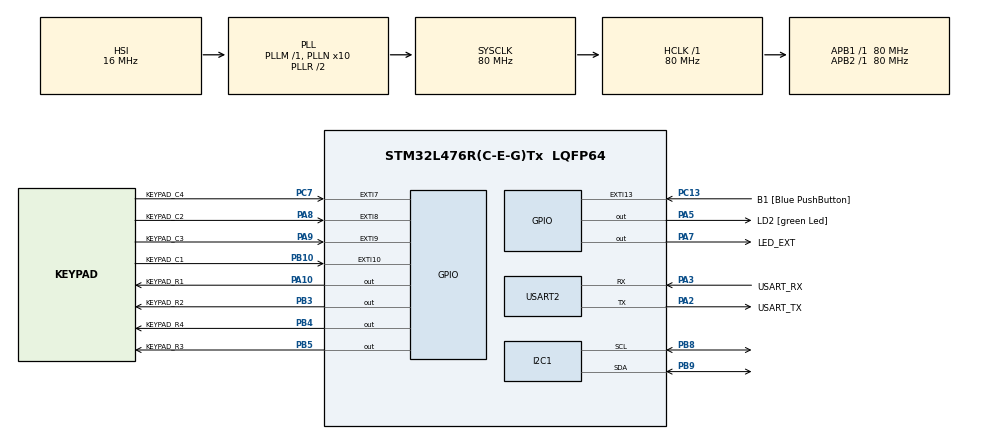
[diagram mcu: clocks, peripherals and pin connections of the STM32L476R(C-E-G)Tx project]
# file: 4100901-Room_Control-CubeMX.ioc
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I2C1.Timing=0x10D19CE4
Mcu.Family=STM32L4
Mcu.Name=STM32L476R(C-E-G)Tx
Mcu.Package=LQFP64
NVIC.EXTI15_10_IRQn=true\:4\:0\:true\:false\:true\:true\:true\:true
NVIC.EXTI9_5_IRQn=true\:4\:0\:true\:false\:true\:true\:true\:true
NVIC.PriorityGroup=NVIC_PRIORITYGROUP_4
NVIC.USART2_IRQn=true\:0\:0\:false\:false\:true\:true\:true\:true
PA10.GPIO_Label=KEYPAD_R1
PA10.Signal=GPIO_Output
PA13\ (JTMS-SWDIO).GPIO_Label=TMS
PA13\ (JTMS-SWDIO).Mode=Serial_Wire
PA13\ (JTMS-SWDIO).Signal=SYS_JTMS-SWDIO
PA14\ (JTCK-SWCLK).GPIO_Label=TCK
PA14\ (JTCK-SWCLK).Mode=Serial_Wire
PA14\ (JTCK-SWCLK).Signal=SYS_JTCK-SWCLK
PA2.GPIO_Label=USART_TX
PA2.GPIO_Mode=GPIO_MODE_AF_PP
PA2.GPIO_PuPd=GPIO_NOPULL
PA2.GPIO_Speed=GPIO_SPEED_FREQ_VERY_HIGH
PA2.Mode=Asynchronous
PA2.Signal=USART2_TX
PA3.GPIO_Label=USART_RX
PA3.GPIO_Mode=GPIO_MODE_AF_PP
PA3.GPIO_PuPd=GPIO_NOPULL
PA3.GPIO_Speed=GPIO_SPEED_FREQ_VERY_HIGH
PA3.Mode=Asynchronous
PA3.Signal=USART2_RX
PA5.GPIO_Label=LD2 [green Led]
PA5.GPIO_ModeDefaultOutputPP=GPIO_MODE_OUTPUT_PP
PA5.GPIO_PuPd=GPIO_NOPULL
PA5.GPIO_Speed=GPIO_SPEED_FREQ_LOW
PA5.Signal=GPIO_Output
PA7.GPIO_Label=LED_EXT
PA7.Signal=GPIO_Output
PA8.GPIO_Label=KEYPAD_C2
PA8.GPIO_ModeDefaultEXTI=GPIO_MODE_IT_FALLING
PA8.GPIO_PuPd=GPIO_PULLUP
PA8.Signal=GPXTI8
PA9.GPIO_Label=KEYPAD_C3
PA9.GPIO_ModeDefaultEXTI=GPIO_MODE_IT_FALLING
PA9.GPIO_PuPd=GPIO_PULLUP
PA9.Signal=GPXTI9
PB10.GPIO_Label=KEYPAD_C1
PB10.GPIO_ModeDefaultEXTI=GPIO_MODE_IT_FALLING
PB10.GPIO_PuPd=GPIO_PULLUP
PB10.Signal=GPXTI10
PB3\ (JTDO-TRACESWO).GPIO_Label=KEYPAD_R2
PB3\ (JTDO-TRACESWO).Signal=GPIO_Output
PB4\ (NJTRST).GPIO_Label=KEYPAD_R4
PB4\ (NJTRST).Signal=GPIO_Output
PB5.GPIO_Label=KEYPAD_R3
PB5.Signal=GPIO_Output
PB8.Mode=I2C
PB8.Signal=I2C1_SCL
PB9.Mode=I2C
PB9.Signal=I2C1_SDA
PC13.GPIO_Label=B1 [Blue PushButton]
PC13.GPIO_ModeDefaultEXTI=GPIO_MODE_IT_FALLING
PC13.GPIO_PuPd=GPIO_PULLUP
PC13.Signal=GPXTI13
PC14-OSC32_IN\ (PC14).Mode=LSE-External-Oscillator
PC14-OSC32_IN\ (PC14).Signal=RCC_OSC32_IN
PC15-OSC32_OUT\ (PC15).Mode=LSE-External-Oscillator
PC15-OSC32_OUT\ (PC15).Signal=RCC_OSC32_OUT
PC7.GPIO_Label=KEYPAD_C4
PC7.GPIO_ModeDefaultEXTI=GPIO_MODE_IT_FALLING
PC7.GPIO_PuPd=GPIO_PULLUP
PC7.Signal=GPXTI7
PH0-OSC_IN\ (PH0).Signal=RCC_OSC_IN
PH1-OSC_OUT\ (PH1).Signal=RCC_OSC_OUT
ProjectManager.HeapSize=0x200
ProjectManager.StackSize=0x400
ProjectManager.TargetToolchain=CMake
RCC.ADCFreq_Value=64000000
RCC.AHBFreq_Value=80000000
RCC.APB1Freq_Value=80000000
RCC.APB1TimFreq_Value=80000000
RCC.APB2Freq_Value=80000000
RCC.APB2TimFreq_Value=80000000
RCC.CortexFreq_Value=80000000
RCC.HCLKFreq_Value=80000000
RCC.HSE_VALUE=8000000
RCC.HSI_VALUE=16000000
RCC.MSI_VALUE=4000000
RCC.PLLN=10
RCC.PLLSourceVirtual=RCC_PLLSOURCE_HSI
RCC.PREFETCH_ENABLE=1
RCC.SYSCLKFreq_VALUE=80000000
RCC.SYSCLKSource=RCC_SYSCLKSOURCE_PLLCLK
RCC.USBFreq_Value=64000000
RCC.VCOOutputFreq_Value=160000000
USART2.VirtualMode-Asynchronous=VM_ASYNC
board=NUCLEO-L476RG

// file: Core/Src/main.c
/* USER CODE BEGIN Header */
/**
  ******************************************************************************
  * @file           : main.c
  * @brief          : Main program body
  ******************************************************************************
  * @attention
  *
  * Copyright (c) 2025 STMicroelectronics.
  * All rights reserved.
  *
  * This software is licensed under terms that can be found in the LICENSE file
  * in the root directory of this software component.
  * If no LICENSE file comes with this software, it is provided AS-IS.
  *
  ******************************************************************************
  */
/* USER CODE END Header */
#include "main.h"

/* USER CODE BEGIN Includes */
#include "led_driver.h"
#include "keypad_driver.h"
#include "ring_buffer.h"
#include <stdio.h>
#include <string.h>
#include "ssd1306.h"
#include "ssd1306_fonts.h"
/* USER CODE END Includes */

/* USER CODE BEGIN PD */
// --- CONFIGURACION DEL SISTEMA ---
/** @brief Configuración de la contraseña y tiempos
 * @note  Ajustar estos valores según las necesidades del sistema
 * @param PASSWORD: Contraseña correcta de 4 dígitos
 * @param DEBOUNCE_TIME_MS: Tiempo de anti-rebote para las teclas
 * @param FEEDBACK_LED_TIME_MS: Tiempo que el LED se enciende al oprimir cualquier tecla
 * @param SUCCESS_LED_TIME_MS: Tiempo que el LED se enciende cuando se ingresa la contraseña correcta
 */
#define PASSWORD "1102" // Contraseña de 4 dígitos
#define PASSWORD_LEN 4
#define DEBOUNCE_TIME_MS 200     // Tiempo de anti-rebote para las teclas
#define FEEDBACK_LED_TIME_MS 100  // Tiempo que el LED se enciende al oprimir cualquier tecla
#define SUCCESS_LED_TIME_MS 4000  // Tiempo que el LED se enciende cuando se ingresa la contraseña correcta

/* USER CODE END PD */

I2C_HandleTypeDef hi2c1;

UART_HandleTypeDef huart2;

/* USER CODE BEGIN PV */
/**
 * @brief Manejo del LED y del Keypad
 * @note  Contiene la lógica para el control del LED y la lectura del teclado matricial
 * @related led_handle_t, keypad_handle_t
 * @param led1: estructura que define el LED conectado al pin PA5
 * @param keypad: estructura que define el teclado matricial conectado a varios pines GPIO
 */
led_handle_t led1 = { .port = GPIOA, .pin = GPIO_PIN_5 }; // LED en PA5 (LD2)

keypad_handle_t keypad = {
    .row_ports = {KEYPAD_R1_GPIO_Port, KEYPAD_R2_GPIO_Port, KEYPAD_R3_GPIO_Port, KEYPAD_R4_GPIO_Port}, // Puertos de las filas
    .row_pins  = {KEYPAD_R1_Pin, KEYPAD_R2_Pin, KEYPAD_R3_Pin, KEYPAD_R4_Pin},                         // Pines de las filas
    .col_ports = {KEYPAD_C1_GPIO_Port, KEYPAD_C2_GPIO_Port, KEYPAD_C3_GPIO_Port, KEYPAD_C4_GPIO_Port}, // puertos de las columnas
    .col_pins  = {KEYPAD_C1_Pin, KEYPAD_C2_Pin, KEYPAD_C3_Pin, KEYPAD_C4_Pin}                          // Pines de las columnas
};

// --- Buffer circular para teclas ---
/** @brief Buffer circular para almacenar las teclas presionadas
 * @related ring_buffer_t
 * @note  Permite manejar las pulsaciones de teclas de forma no bloqueante
 * @param keypad_buffer: array que actúa como buffer del ring buffer
 * @param keypad_rb: estructura del ring buffer que gestiona el buffer circular
 */
#define KEYPAD_BUFFER_LEN 16              // Tamaño del buffer circular
uint8_t keypad_buffer[KEYPAD_BUFFER_LEN]; // Buffer para el ring buffer
ring_buffer_t keypad_rb;                  // Estructura del ring buffer

// --- VARIABLES PARA GESTION DE CONTRASEÑA ---

/** Contraseña ingresada por el usuario   */
/**
 * @brief Variables para gestionar la contraseña ingresada
 * @note  Almacena la contraseña ingresada y el índice actual
 * @param entered_password: array que almacena la contraseña ingresada
 * @param password_index: índice del siguiente dígito a ingresar
*/
char entered_password[PASSWORD_LEN + 1] = {0}; // +1 para el carácter nulo
uint8_t password_index = 0;

// --- VARIABLES DE ESTADO PARA LOGICA NO BLOQUEANTE ---
/**
 * @brief Variables para gestionar tiempos y estados
 * @note  Utilizadas para implementar lógica no bloqueante en el manejo del LED y las teclas
 * @param last_key_press_time: tiempo de la última tecla presionada (anti-rebote)
 * @param led_timer_start: tiempo de inicio del temporizador del LED
 * @param led_on_duration: duración que el LED debe permanecer encendido
 */
uint32_t last_key_press_time = 0;
uint32_t led_timer_start = 0;
uint32_t led_on_duration = 0;

/* USER CODE END PV */

void SystemClock_Config(void);
static void MX_GPIO_Init(void);
static void MX_USART2_UART_Init(void);
static void MX_I2C1_Init(void);
/* USER CODE BEGIN PFP */
/**
 * @brief Prototipos de funciones privadas
 * @note  Declaraciones de funciones utilizadas en el programa principal
 * @param SystemClock_Config: Configura el reloj del sistema
 * @param MX_GPIO_Init: Inicializa los pines GPIO
 * @param MX_USART2_UART_Init: Inicializa el periférico USART2 para comunicación UART
 * @param manage_led_timer: Gestiona el apagado automático del LED sin bloquear el programa
 * @param process_key: Procesa una tecla recibida del buffer del keypad
 */

void SystemClock_Config(void);
static void MX_GPIO_Init(void);
static void MX_USART2_UART_Init(void);
void manage_led_timer(void);
void process_key(uint8_t key);
/* USER CODE END PFP */

/* USER CODE BEGIN 0 */
/**
 * @brief Callback de interrupción para el teclado matricial.
 * @note  Lee la tecla presionada y la almacena en el buffer circular.
 * @param GPIO_Pin El pin de la columna que generó la interrupción.
 * @param keypad_scan: Función que escanea el teclado y devuelve la tecla presionada.
 * @param ring_buffer_write: Función que escribe datos en el buffer circular.
 *
 */
void HAL_GPIO_EXTI_Callback(uint16_t GPIO_Pin) { //espera una interrupción por flanco descendente en una columna
    char key = keypad_scan(&keypad, GPIO_Pin); // Escanear la tecla presionada
    if (key != '\0') {
        ring_buffer_write(&keypad_rb, (uint8_t)key);
    }
}
/**
 * @brief Procesa una tecla recibida del buffer del keypad.
 * @note  Contiene la lógica principal de la aplicación: feedback visual,
 *        almacenamiento de la contraseña y verificación.
 * @param key La tecla presionada a procesar.
 * @related led_on, led_off
 * @param led_timer_start Iniciar el temporizador para el LED de feedback
 * @param led_on_duration Duración que el LED debe permanecer encendido
 */
void process_key(uint8_t key)
{

    led_on(&led1);
    led_timer_start = HAL_GetTick();
    led_on_duration = FEEDBACK_LED_TIME_MS;

    // 2. Almacenar el dígito ingresado en la contraseña

    if (password_index < PASSWORD_LEN) {                 // Si aún hay espacio en la contraseña
        entered_password[password_index++] = (char)key;  // Almacenar el dígito y avanzar el índice
        printf("Digito presionado: %c\r\n", key);
    }

    // 3. Si la contraseña se ha completado, verificarla
    // Si ya se ingresaron 4 dígitos, verificar contraseña

    if (password_index == PASSWORD_LEN) {
        if (strncmp(entered_password, PASSWORD, PASSWORD_LEN) == 0) {
          printf("Contraseña correcta. ACCESO AUTORIZADO.\r\n");
          ssd1306_Fill(Black); // Limpiar pantalla
          ssd1306_SetCursor(5, 10);
          ssd1306_WriteString("AUTORIZADO", Font_11x18, White);
          ssd1306_UpdateScreen();
          // Iniciar el temporizador largo para el LED de éxito
          led_on(&led1);
          led_timer_start = HAL_GetTick(); // Reiniciar el temporizador
          led_on_duration = SUCCESS_LED_TIME_MS;
        } else {
          printf("Contraseña incorrecta. ACCESO DENEGADO.\r\n");
          ssd1306_Fill(Black); // Limpiar pantalla
          ssd1306_SetCursor(5, 10);
          ssd1306_WriteString("DENEGADO", Font_11x18, White);
          ssd1306_UpdateScreen();
          // Apagar el LED para indicar fallo
          led_off(&led1);
        }

        // 4. Reiniciar para el siguiente intento
        password_index = 0;
        memset(entered_password, 0, sizeof(entered_password)); // Limpiar la contraseña ingresada memset llena un bloque de memoria con un valor específico
        printf("\nSistema de acceso listo. Ingrese la contraseña de 4 digitos...\r\n");
    }
}

/**
 * @brief Gestiona el apagado automático del LED sin bloquear el programa.
 * @note  Esta función debe ser llamada repetidamente en el bucle principal.
 * @param  manage_led_timer: Función que gestiona el temporizador del LED.
 * @param led_timer_start Tiempo de inicio del temporizador del LED.
 * @param HAL_GetTick: Función que devuelve el tiempo actual en milisegundos.
 * @param led_on_duration Duración que el LED debe permanecer encendido.
 * @param led_timer_start Reiniciar el temporizador del LED cuando se apaga.
 */
void manage_led_timer(void)

{
  // Apaga el LED automáticamente cuando el tiempo indicado termina.
    if (led_timer_start != 0 && (HAL_GetTick() - led_timer_start > led_on_duration)) {
        led_off(&led1);
        led_timer_start = 0; //
    }
}
/* USER CODE END 0 */

int main(void)
{

  /* MCU Configuration--------------------------------------------------------*/

  /* Reset of all peripherals, Initializes the Flash interface and the Systick. */
  HAL_Init();
  ssd1306_Init();
  ssd1306_Fill(Black);
  ssd1306_UpdateScreen();

  /* Configure the system clock */
  SystemClock_Config();

  /* Initialize all configured peripherals */
  MX_GPIO_Init();
  MX_USART2_UART_Init();
  MX_I2C1_Init();
  /* USER CODE BEGIN 2 */

  /**
   * @brief Inicialización de periféricos y estructuras
   * @note  Configura el LED, el buffer circular y el teclado matricial
   * @param led_init: Función que inicializa el LED
   * @param ring_buffer_init: Función que inicializa el buffer circular
   * @param keypad_init: Función que inicializa el teclado matricial
   */
  led_init(&led1);
  ring_buffer_init(&keypad_rb, keypad_buffer, KEYPAD_BUFFER_LEN);
  keypad_init(&keypad);
  printf("Sistema listo. Esperando pulsaciones del teclado...\r\n");
  printf("Ingrese la contraseña de 4 digitos...\r\n");

  ssd1306_Init();
  ssd1306_Fill(Black);
  ssd1306_SetCursor(10, 0);
  ssd1306_WriteString("Hello Sam!", Font_11x18, White);
  ssd1306_UpdateScreen();
  /* USER CODE END 2 */

  /* Infinite loop */
  /* USER CODE BEGIN WHILE */
  while (1)
  {
    uint8_t key_from_buffer;

  // Leer teclas del buffer circular
    /**
     * @brief Lectura y procesamiento de teclas del buffer circular
     * @note  Implementa lógica de anti-rebote y llama a la función de procesamiento de teclas
     * @param ring_buffer_read: Función que lee datos del buffer circular
     * @param HAL_GetTick: Función que devuelve el tiempo actual en milisegundos.
     */
    if (ring_buffer_read(&keypad_rb, &key_from_buffer)) { // Leer una tecla del buffer circular
        uint32_t now = HAL_GetTick();
        // Anti-rebote: procesar solo si ha pasado el tiempo definido
        if (now - last_key_press_time > DEBOUNCE_TIME_MS) {
            last_key_press_time = now;
            process_key(key_from_buffer);
        }
    }

   manage_led_timer();

    /* USER CODE END WHILE */

  }
}

void SystemClock_Config(void)
{
  RCC_OscInitTypeDef RCC_OscInitStruct = {0};
  RCC_ClkInitTypeDef RCC_ClkInitStruct = {0};

  /** Configure the main internal regulator output voltage
  */
  if (HAL_PWREx_ControlVoltageScaling(PWR_REGULATOR_VOLTAGE_SCALE1) != HAL_OK)
  {
    Error_Handler();
  }

  /** Initializes the RCC Oscillators according to the specified parameters
  * in the RCC_OscInitTypeDef structure.
  */
  RCC_OscInitStruct.OscillatorType = RCC_OSCILLATORTYPE_HSI;
  RCC_OscInitStruct.HSIState = RCC_HSI_ON;
  RCC_OscInitStruct.HSICalibrationValue = RCC_HSICALIBRATION_DEFAULT;
  RCC_OscInitStruct.PLL.PLLState = RCC_PLL_ON;
  RCC_OscInitStruct.PLL.PLLSource = RCC_PLLSOURCE_HSI;
  RCC_OscInitStruct.PLL.PLLM = 1;
  RCC_OscInitStruct.PLL.PLLN = 10;
  RCC_OscInitStruct.PLL.PLLP = RCC_PLLP_DIV7;
  RCC_OscInitStruct.PLL.PLLQ = RCC_PLLQ_DIV2;
  RCC_OscInitStruct.PLL.PLLR = RCC_PLLR_DIV2;
  if (HAL_RCC_OscConfig(&RCC_OscInitStruct) != HAL_OK)
  {
    Error_Handler();
  }

  /** Initializes the CPU, AHB and APB buses clocks
  */
  RCC_ClkInitStruct.ClockType = RCC_CLOCKTYPE_HCLK|RCC_CLOCKTYPE_SYSCLK
                              |RCC_CLOCKTYPE_PCLK1|RCC_CLOCKTYPE_PCLK2;
  RCC_ClkInitStruct.SYSCLKSource = RCC_SYSCLKSOURCE_PLLCLK;
  RCC_ClkInitStruct.AHBCLKDivider = RCC_SYSCLK_DIV1;
  RCC_ClkInitStruct.APB1CLKDivider = RCC_HCLK_DIV1;
  RCC_ClkInitStruct.APB2CLKDivider = RCC_HCLK_DIV1;

  if (HAL_RCC_ClockConfig(&RCC_ClkInitStruct, FLASH_LATENCY_4) != HAL_OK)
  {
    Error_Handler();
  }
}

static void MX_I2C1_Init(void)
{

  hi2c1.Instance = I2C1;
  hi2c1.Init.Timing = 0x10D19CE4;
  hi2c1.Init.OwnAddress1 = 0;
  hi2c1.Init.AddressingMode = I2C_ADDRESSINGMODE_7BIT;
  hi2c1.Init.DualAddressMode = I2C_DUALADDRESS_DISABLE;
  hi2c1.Init.OwnAddress2 = 0;
  hi2c1.Init.OwnAddress2Masks = I2C_OA2_NOMASK;
  hi2c1.Init.GeneralCallMode = I2C_GENERALCALL_DISABLE;
  hi2c1.Init.NoStretchMode = I2C_NOSTRETCH_DISABLE;
  if (HAL_I2C_Init(&hi2c1) != HAL_OK)
  {
    Error_Handler();
  }

  /** Configure Analogue filter
  */
  if (HAL_I2CEx_ConfigAnalogFilter(&hi2c1, I2C_ANALOGFILTER_ENABLE) != HAL_OK)
  {
    Error_Handler();
  }

  /** Configure Digital filter
  */
  if (HAL_I2CEx_ConfigDigitalFilter(&hi2c1, 0) != HAL_OK)
  {
    Error_Handler();
  }

}

static void MX_USART2_UART_Init(void)
{

  huart2.Instance = USART2;
  huart2.Init.BaudRate = 115200;
  huart2.Init.WordLength = UART_WORDLENGTH_8B;
  huart2.Init.StopBits = UART_STOPBITS_1;
  huart2.Init.Parity = UART_PARITY_NONE;
  huart2.Init.Mode = UART_MODE_TX_RX;
  huart2.Init.HwFlowCtl = UART_HWCONTROL_NONE;
  huart2.Init.OverSampling = UART_OVERSAMPLING_16;
  huart2.Init.OneBitSampling = UART_ONE_BIT_SAMPLE_DISABLE;
  huart2.AdvancedInit.AdvFeatureInit = UART_ADVFEATURE_NO_INIT;
  if (HAL_UART_Init(&huart2) != HAL_OK)
  {
    Error_Handler();
  }
  /* USER CODE BEGIN USART2_Init 2 */
  #ifdef GNUC
    setvbuf(stdout, NULL, _IONBF, 0);
  #endif
  /* USER CODE END USART2_Init 2 */

}

static void MX_GPIO_Init(void)
{
  GPIO_InitTypeDef GPIO_InitStruct = {0};

  /* GPIO Ports Clock Enable */
  __HAL_RCC_GPIOC_CLK_ENABLE();
  __HAL_RCC_GPIOH_CLK_ENABLE();
  __HAL_RCC_GPIOA_CLK_ENABLE();
  __HAL_RCC_GPIOB_CLK_ENABLE();

  /*Configure GPIO pin Output Level */
  HAL_GPIO_WritePin(GPIOA, LD2_Pin|LED_EXT_Pin|KEYPAD_R1_Pin, GPIO_PIN_RESET);

  /*Configure GPIO pin Output Level */
  HAL_GPIO_WritePin(GPIOB, KEYPAD_R2_Pin|KEYPAD_R4_Pin|KEYPAD_R3_Pin, GPIO_PIN_RESET);

  /*Configure GPIO pins : B1_Pin KEYPAD_C4_Pin */
  GPIO_InitStruct.Pin = B1_Pin|KEYPAD_C4_Pin;
  GPIO_InitStruct.Mode = GPIO_MODE_IT_FALLING;
  GPIO_InitStruct.Pull = GPIO_PULLUP;
  HAL_GPIO_Init(GPIOC, &GPIO_InitStruct);

  /*Configure GPIO pins : LD2_Pin LED_EXT_Pin KEYPAD_R1_Pin */
  GPIO_InitStruct.Pin = LD2_Pin|LED_EXT_Pin|KEYPAD_R1_Pin;
  GPIO_InitStruct.Mode = GPIO_MODE_OUTPUT_PP;
  GPIO_InitStruct.Pull = GPIO_NOPULL;
  GPIO_InitStruct.Speed = GPIO_SPEED_FREQ_LOW;
  HAL_GPIO_Init(GPIOA, &GPIO_InitStruct);

  /*Configure GPIO pin : KEYPAD_C1_Pin */
  GPIO_InitStruct.Pin = KEYPAD_C1_Pin;
  GPIO_InitStruct.Mode = GPIO_MODE_IT_FALLING;
  GPIO_InitStruct.Pull = GPIO_PULLUP;
  HAL_GPIO_Init(KEYPAD_C1_GPIO_Port, &GPIO_InitStruct);

  /*Configure GPIO pins : KEYPAD_C2_Pin KEYPAD_C3_Pin */
  GPIO_InitStruct.Pin = KEYPAD_C2_Pin|KEYPAD_C3_Pin;
  GPIO_InitStruct.Mode = GPIO_MODE_IT_FALLING;
  GPIO_InitStruct.Pull = GPIO_PULLUP;
  HAL_GPIO_Init(GPIOA, &GPIO_InitStruct);

  /*Configure GPIO pins : KEYPAD_R2_Pin KEYPAD_R4_Pin KEYPAD_R3_Pin */
  GPIO_InitStruct.Pin = KEYPAD_R2_Pin|KEYPAD_R4_Pin|KEYPAD_R3_Pin;
  GPIO_InitStruct.Mode = GPIO_MODE_OUTPUT_PP;
  GPIO_InitStruct.Pull = GPIO_NOPULL;
  GPIO_InitStruct.Speed = GPIO_SPEED_FREQ_LOW;
  HAL_GPIO_Init(GPIOB, &GPIO_InitStruct);

  /* EXTI interrupt init*/
  HAL_NVIC_SetPriority(EXTI9_5_IRQn, 4, 0);
  HAL_NVIC_EnableIRQ(EXTI9_5_IRQn);

  HAL_NVIC_SetPriority(EXTI15_10_IRQn, 4, 0);
  HAL_NVIC_EnableIRQ(EXTI15_10_IRQn);

}

/* USER CODE BEGIN 4 */
// Retargeting printf to UART2
/**
 * @brief inicializamos el write para ustar prinf
 */
int _write(int file, char *ptr, int len)
{
    HAL_UART_Transmit(&huart2, (uint8_t*)ptr, len, HAL_MAX_DELAY);
    return len;
}
/* USER CODE END 4 */

void Error_Handler(void)
{
  __disable_irq();
  while (1)
  {
  }
}
